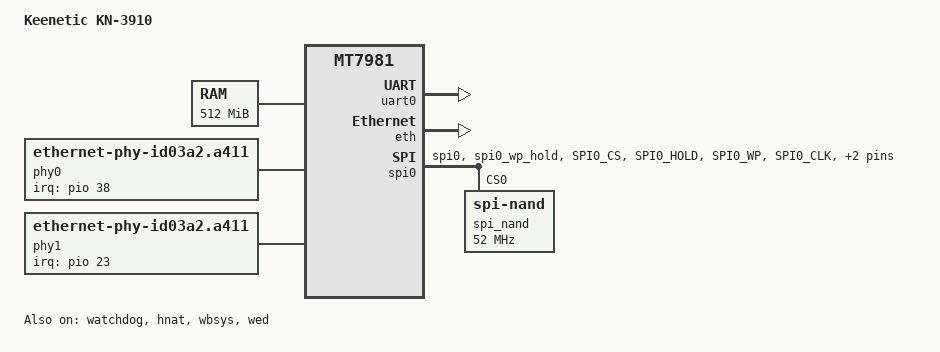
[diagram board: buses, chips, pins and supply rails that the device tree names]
/dts-v1/;
#include <dt-bindings/gpio/gpio.h>
#include <dt-bindings/pinctrl/mt65xx.h>
#include <mediatek/mt7981.dtsi>
/ {
	model = "Keenetic KN-3910";
	compatible = "keenetic,kn-3910", "mediatek,mt7981";

	chosen {
		bootargs = "console=ttyS0,115200n1 loglevel=8 earlycon=uart8250,mmio32,0x11002000";
	};

	memory@40000000 {
		device_type = "memory";
		reg = <0 0x40000000 0 0x20000000>;
	};

	nmbm_spim_nand {
		compatible = "generic,nmbm";
		lower-mtd-device = <&spi_nand>;
		forced-create;
	};

	phy0: phy-sgmii0 {
		compatible = "ethernet-phy-id03a2.a411";
		#address-cells = <1>;
		#size-cells = <0>;
		reg = <10>;
		pinctrl-names = "default";
		pinctrl-0 = <&gbe_int_pin>;
		interrupt-parent = <&pio>;
		interrupts = <38 IRQ_TYPE_LEVEL_LOW>;
	};

	phy1: phy-sgmii1 {
		compatible = "ethernet-phy-id03a2.a411";
		#address-cells = <1>;
		#size-cells = <0>;
		reg = <11>;
		interrupt-parent = <&pio>;
		interrupts = <23 IRQ_TYPE_LEVEL_LOW>;
	};
};

&uart0 {
	status = "okay";
};

&watchdog {
	status = "okay";
};

&eth {
	mediatek,phy = <&phy0>, <&phy1>;
	status = "okay";
};

&hnat {
	eth-max-gmac = <2>;
	status = "okay";
};

&spi0 {
	pinctrl-names = "default";
	pinctrl-0 = <&spi0_flash_pins>;
	status = "okay";

	spi_nand: spi_nand@0 {
		compatible = "spi-nand";
		reg = <0>;
		spi-max-frequency = <52000000>;
		spi-tx-bus-width = <4>;
		spi-rx-bus-width = <4>;
	};
};

&wbsys {
	status = "okay";
};

&wed {
	wdma_rx_ring_depth = <1024>;
	wdma_tx_ring_depth = <1024>;
	status = "okay";
};

&wed_pcie {
	status = "disabled";
};

&pio {
	spi0_flash_pins: spi0-pins-16-to-21 {
		mux {
			function = "spi";
			groups = "spi0", "spi0_wp_hold";
		};

		conf-pu {
			pins = "SPI0_CS", "SPI0_HOLD", "SPI0_WP";
			drive-strength = <MTK_DRIVE_8mA>;
			mediatek,pull-up-adv = <3>;	/* pull-up 75k */
		};

		conf-pd {
			pins = "SPI0_CLK", "SPI0_MOSI", "SPI0_MISO";
			drive-strength = <MTK_DRIVE_8mA>;
			mediatek,pull-down-adv = <3>;	/* pull-down 75k */
		};
	};

	gbe_int_pin: int-pin-38 {
		conf-pu {
			pins = "GBE_INT";
			mediatek,pull-up-adv = <2>;	/* pull-up 50k */
		};
	};
};
